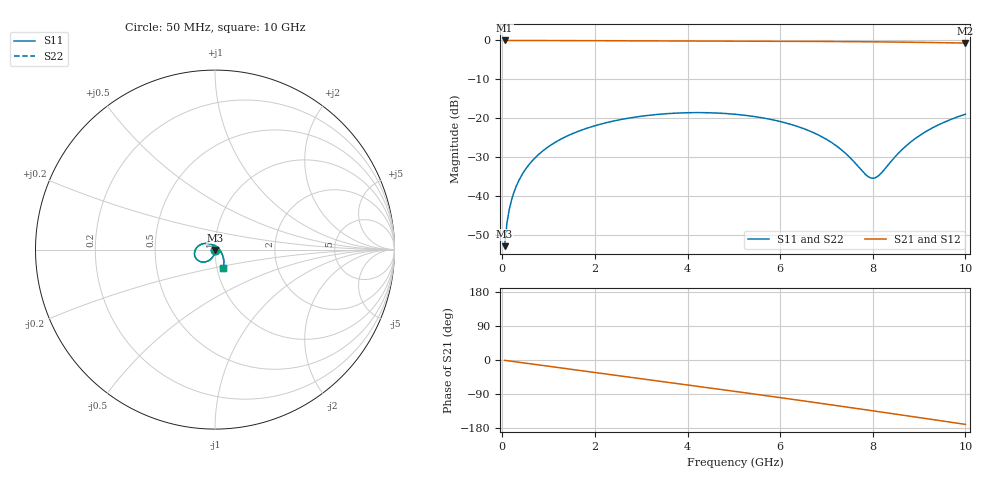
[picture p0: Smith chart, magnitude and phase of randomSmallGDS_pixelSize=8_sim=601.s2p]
! freq	dB(S11)	phase(S11)	dB(S12)	phase(S12)
!  dB(S21)	phase(S21)	dB(S22)	phase(S22)
!S-par simulation data
#  GHz  S  DB  R 50
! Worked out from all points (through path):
!   200 points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, 50 MHz to 10 GHz, reference 50 ohm
!   highest |S21| = 0.00 dB at 50 MHz (marker M1); lowest = -0.7 dB at 10 GHz (marker M2)
!   group delay of S21, straight-line fit = 46.9 ps
!   lowest |S11| = -52.9 dB at 50 MHz (marker M3), VSWR 1.00, Z = 50 - j0.225 ohm
!   |S11| at or under -10 dB: start of sweep to end of sweep
!   |S22| runs from -52.9 to -18.6 dB; largest |S21 - S12| = 0
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0.05  -52.94 -91.1  -0.00 -0.8  -0.00 -0.8  -52.93 -91.1
0.1  -46.99 -92.3  -0.00 -1.7  -0.00 -1.7  -46.99 -92.4
0.15  -43.52 -93.2  -0.01 -2.5  -0.01 -2.5  -43.52 -93.2
0.2  -41.05 -94.0  -0.01 -3.3  -0.01 -3.3  -41.05 -94.1
0.35  -36.23 -96.5  -0.01 -5.8  -0.01 -5.8  -36.23 -96.5
0.5  -33.17 -99.0  -0.01 -8.3  -0.01 -8.3  -33.17 -99.0
0.7  -30.30 -102.4  -0.02 -11.6  -0.02 -11.6  -30.30 -102.4
1  -27.31 -107.5  -0.03 -16.5  -0.03 -16.5  -27.31 -107.5
1.75  -22.90 -120.1  -0.05 -28.9  -0.05 -28.9  -22.90 -120.1
2.5  -20.49 -132.7  -0.08 -41.2  -0.08 -41.2  -20.49 -132.7
3.4  -18.98 -147.8  -0.12 -55.9  -0.12 -55.9  -18.98 -147.8
4.25  -18.57 -162.4  -0.15 -69.9  -0.15 -69.9  -18.57 -162.4
5.05  -19.02 -176.8  -0.18 -83.2  -0.18 -83.2  -19.02 -176.7
5.95  -20.72 165.8  -0.21 -98.4  -0.21 -98.4  -20.72 165.8
6.7  -23.62 148.5  -0.25 -111.3  -0.25 -111.3  -23.63 148.6
7.3  -27.91 128.1  -0.29 -121.7  -0.29 -121.7  -27.92 128.3
7.95  -35.35 60.6  -0.34 -133.1  -0.34 -133.1  -35.43 60.8
8.1  -35.03 30.6  -0.36 -135.8  -0.36 -135.8  -35.11 30.5
8.35  -31.77 -5.1  -0.39 -140.2  -0.39 -140.2  -31.82 -5.4
8.7  -27.34 -29.1  -0.44 -146.5  -0.44 -146.5  -27.36 -29.3
9.05  -24.16 -42.6  -0.49 -152.7  -0.49 -152.7  -24.17 -42.8
10  -18.98 -66.4  -0.67 -169.8  -0.67 -169.8  -18.99 -66.5
